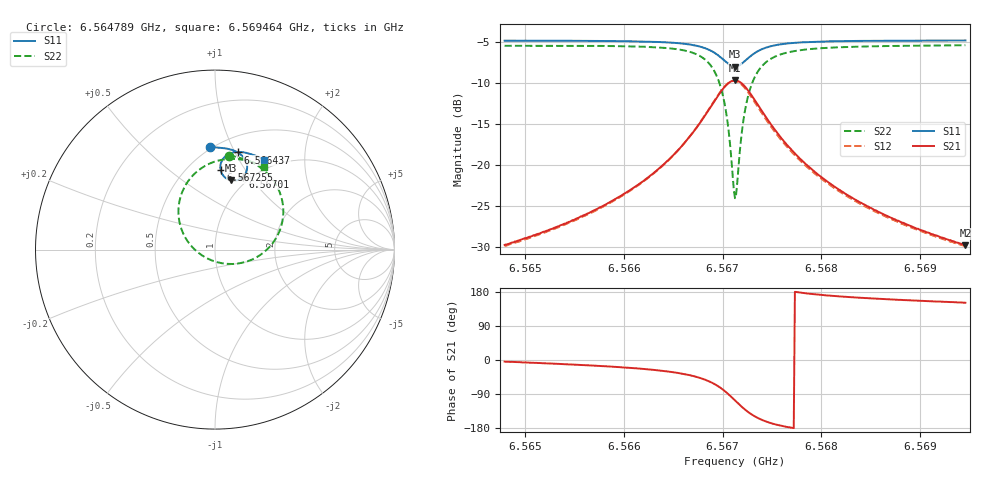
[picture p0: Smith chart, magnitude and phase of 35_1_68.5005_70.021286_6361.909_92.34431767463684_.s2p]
#  HZ  S  RI  R  50.00
! Rohde & Schwarz Vector Network Analyzer
! Rohde-Schwarz,ZNB20-2Port,1311601062101988,3.16
! Created: UTC 3/20/2024, 4:50:05 PM
! freq[Hz]  re:S11  im:S11  re:S21  im:S21  re:S12  im:S12  re:S22  im:S22
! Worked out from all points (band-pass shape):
!   401 points, 6.564789 GHz to 6.569464 GHz, reference 50 ohm
!   highest |S21| = -9.72 dB at 6.567126 GHz (marker M1); lowest = -29.8 dB at 6.569464 GHz (marker M2)
!   |S21| within 3 dB of the highest: 6.566892 GHz to 6.56736 GHz (468.3 kHz wide, 0.00713 % of centre)
!   lowest |S11| = -8.0 dB at 6.567126 GHz (marker M3), VSWR 2.31, Z = 42.9 + j39.3 ohm
!   |S11| at or under -10 dB: nowhere
!   |S22| runs from -24.0 to -5.4 dB; largest |S21 - S12| = 0.017
!   S11 on the Smith chart (normalised r, x): 6.564789 GHz: 0.49, +0.82; 6.566437 GHz: 0.66, +1.03; 6.56701 GHz: 0.93, +0.93; 6.567255 GHz: 0.71, +0.78; 6.569464 GHz: 0.86, +1.28
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6.5647892e9  -0.0279 0.5689  0.0326 -0.00244  0.032 -0.00291  0.0769 0.5242
6.5655722e9  0.0386 0.5666  0.0476 -0.011  0.0467 -0.0117  0.1582 0.5054
6.5660162e9  0.0804 0.5593  0.0635 -0.023  0.0626 -0.0239  0.2179 0.4792
6.5663551e9  0.1174 0.5463  0.0843 -0.044  0.0831 -0.045  0.2792 0.436
6.5664369e9  0.1274 0.541  0.0913 -0.0528  0.0898 -0.054  0.2974 0.4187
6.5666706e9  0.1585 0.5156  0.1142 -0.0968  0.1123 -0.099  0.3551 0.3323
6.5668342e9  0.1773 0.4778  0.1228 -0.1639  0.1194 -0.1676  0.3805 0.2029
6.5669394e9  0.1758 0.4375  0.1015 -0.2348  0.0943 -0.2397  0.3422 0.0677
6.5670095e9  0.1573 0.4064  0.0545 -0.2876  0.0428 -0.2913  0.253 -0.0295
6.5670563e9  0.1337 0.3903  0.0027 -0.3132  -0.0118 -0.3136  0.1557 -0.0723
6.567103e9  0.1032 0.3842  -0.061 -0.3192  -0.0769 -0.3145  0.039 -0.0761
6.5671264e9  0.0869 0.3862  -0.0939 -0.3127  -0.109 -0.3052  -0.0187 -0.0599
6.5671498e9  0.0715 0.3918  -0.1247 -0.3001  -0.1385 -0.2899  -0.0718 -0.0325
6.5672082e9  0.0424 0.417  -0.1833 -0.2476  -0.1917 -0.2333  -0.1668 0.0692
6.5672549e9  0.0316 0.4424  -0.2071 -0.1973  -0.2107 -0.1829  -0.1994 0.1609
6.5673484e9  0.0346 0.4865  -0.2086 -0.1122  -0.2065 -0.1011  -0.1869 0.3096
6.5674887e9  0.0619 0.523  -0.1724 -0.0415  -0.1684 -0.0355  -0.1085 0.4278
6.5676523e9  0.0938 0.539  -0.1325 -0.00791  -0.1291 -0.00475  -0.0261 0.481
6.5679093e9  0.1327 0.5441  -0.0932 0.00956  -0.0906 0.0111  0.061 0.5038
6.5682599e9  0.1726 0.5394  -0.0643 0.0154  -0.0627 0.0162  0.1351 0.5033
6.5686923e9  0.2123 0.5282  -0.0454 0.0164  -0.0444 0.0169  0.1954 0.4908
6.5694636e9  0.2724 0.5019  -0.0285 0.0157  -0.028 0.0158  0.2715 0.4599
